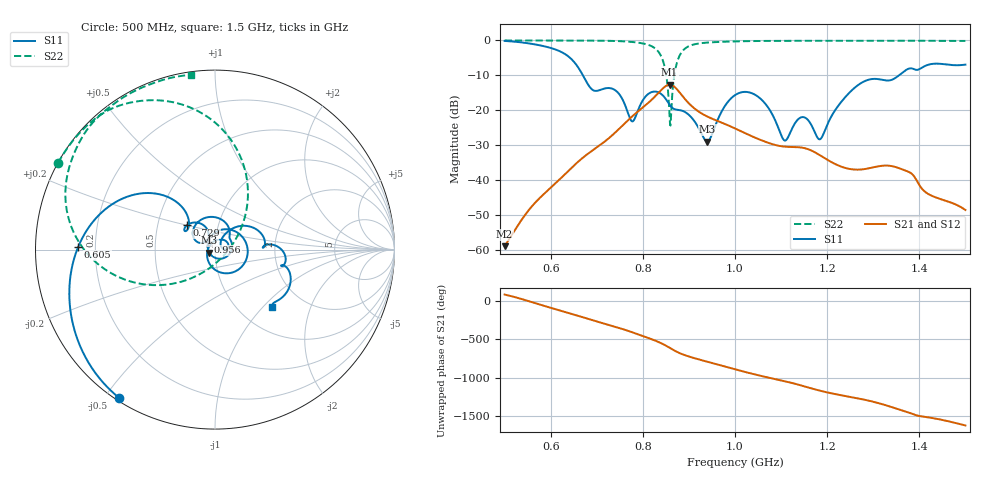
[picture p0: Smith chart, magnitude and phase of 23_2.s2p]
! TOUCHSTONE file generated by CST MICROWAVE STUDIO
! Date and time: Fri Oct  2 16:29:15 2020
! Project name: Scenario_1_Free_Space_out_of_line.cst
! Parameters = {Lambda=346.42; Step_1=17.321; dy1=-33.862; dx1=346; L_HA=400; MT=2.54; Rad_Dielectric=30; Rad_Lower=7.3; Rad_Upper=30; a_HA=580; a_WG=246; b_HA=500; b_WG=121; c_HA=0; c_WG=187; d_feed=85; h_feed=15; h_lower=18; h_upper=40}
! Header version: 2018
! Port assignment regex: !\s*Touchstone port\s*([0-9]+)\s*=\s*(CST MWS port|CST DS port)\s*([0-9]+|Zmin|Zmax)\s*\(\"(.*)\"\)(\s*mode\s*([0-9]+))?.*
! Touchstone port assignment:
! Touchstone port 1 = CST MWS port 1 ("")
! Touchstone port 2 = CST MWS port 2 ("")
# GHz S DB R 50
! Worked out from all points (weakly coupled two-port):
!   1003 points, 500 MHz to 1.5 GHz, reference 50 ohm
!   highest |S21| = -12.67 dB at 858 MHz (marker M1); lowest = -58.9 dB at 500 MHz (marker M2)
!   lowest |S11| = -29.0 dB at 940 MHz (marker M3), VSWR 1.07, Z = 47 - j1.64 ohm
!   |S11| at or under -10 dB: 669.9 MHz to 1.356 GHz (685.8 MHz wide, 67.7 % of centre)
!   |S22| runs from -24.4 to 0.0 dB; largest |S21 - S12| = 0.00014
!   S11 on the Smith chart (normalised r, x): 500 MHz: 0.01, -0.55; 605 MHz: 0.13, +0.01; 729 MHz: 0.71, +0.20; 956 MHz: 0.92, +0.08; 1.5 GHz: 1.41, -1.13
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0.5  -0.14 -122.7  -58.95 81.1  -58.95 81.1  -0.01 151.1
0.605  -2.36 178.9  -41.60 -98.8  -41.61 -98.9  -0.02 143.6
0.667  -9.31 129.0  -33.91 152.1  -33.91 152.1  -0.04 138.2
0.692  -14.25 139.2  -31.40 106.3  -31.40 106.3  -0.06 135.6
0.729  -13.67 139.2  -27.70 42.4  -27.70 42.4  -0.12 130.7
0.777  -23.20 134.3  -21.75 -48.4  -21.75 -48.4  -0.44 120.9
0.834  -14.88 89.4  -15.02 -174.1  -15.02 -174.1  -3.27 87.9
0.848  -16.47 61.3  -13.24 145.2  -13.24 145.2  -7.96 62.9
0.858  -18.39 46.7  -12.67 111.2  -12.67 111.2  -21.59 5.5
0.869  -19.71 37.8  -13.32 73.4  -13.32 73.4  -9.39 -144.7
0.883  -20.04 19.2  -15.44 33.5  -15.44 33.6  -3.59 -173.4
0.94  -28.97 -150.6  -21.81 -70.4  -21.80 -70.4  -0.62 150.8
0.956  -24.84 131.7  -22.75 -96.5  -22.73 -96.5  -0.49 147.1
1  -15.68 29.1  -25.22 -169.1  -25.22 -169.1  -0.28 140.1
1.056  -16.77 -65.8  -28.53 106.8  -28.53 106.8  -0.15 133.7
1.107  -28.63 158.6  -30.42 37.9  -30.42 37.9  -0.12 128.9
1.142  -22.12 34.2  -30.65 -14.9  -30.65 -14.9  -0.11 126.0
1.167  -24.56 0.9  -31.62 -57.9  -31.62 -57.9  -0.10 124.1
1.185  -28.28 29.6  -32.95 -86.7  -32.95 -86.7  -0.09 122.7
1.26  -13.52 39.0  -37.01 -178.0  -37.00 -178.0  -0.08 116.9
1.334  -11.47 2.9  -35.89 73.0  -35.89 72.7  -0.09 111.3
1.5  -6.93 -44.8  -48.57 -176.6  -48.66 -178.7  -0.15 97.7
